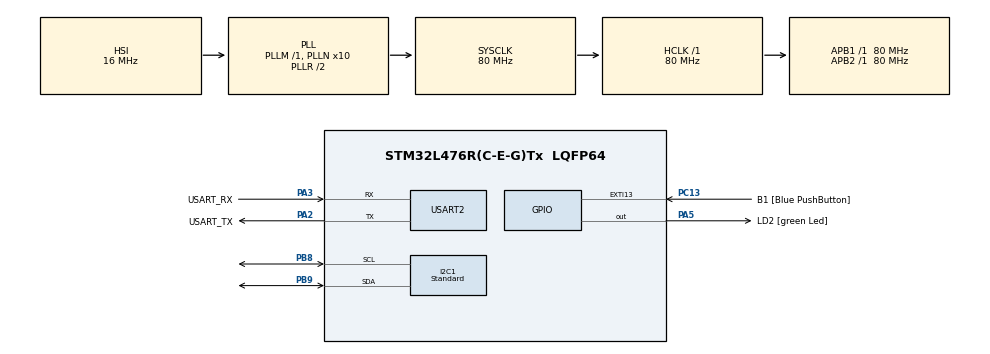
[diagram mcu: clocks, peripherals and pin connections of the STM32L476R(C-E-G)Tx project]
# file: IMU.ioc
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I2C1.I2C_Speed_Mode=I2C_Standard
I2C1.Timing=0x10D19CE4
Mcu.Family=STM32L4
Mcu.Name=STM32L476R(C-E-G)Tx
Mcu.Package=LQFP64
NVIC.PriorityGroup=NVIC_PRIORITYGROUP_4
NVIC.TIM6_DAC_IRQn=true\:0\:0\:false\:false\:true\:true\:true\:true
PA13\ (JTMS-SWDIO).GPIO_Label=TMS
PA13\ (JTMS-SWDIO).Mode=Serial_Wire
PA13\ (JTMS-SWDIO).Signal=SYS_JTMS-SWDIO
PA14\ (JTCK-SWCLK).GPIO_Label=TCK
PA14\ (JTCK-SWCLK).Mode=Serial_Wire
PA14\ (JTCK-SWCLK).Signal=SYS_JTCK-SWCLK
PA2.GPIO_Label=USART_TX
PA2.GPIO_Mode=GPIO_MODE_AF_PP
PA2.GPIO_PuPd=GPIO_NOPULL
PA2.GPIO_Speed=GPIO_SPEED_FREQ_VERY_HIGH
PA2.Mode=Asynchronous
PA2.Signal=USART2_TX
PA3.GPIO_Label=USART_RX
PA3.GPIO_Mode=GPIO_MODE_AF_PP
PA3.GPIO_PuPd=GPIO_NOPULL
PA3.GPIO_Speed=GPIO_SPEED_FREQ_VERY_HIGH
PA3.Mode=Asynchronous
PA3.Signal=USART2_RX
PA5.GPIO_Label=LD2 [green Led]
PA5.GPIO_ModeDefaultOutputPP=GPIO_MODE_OUTPUT_PP
PA5.GPIO_PuPd=GPIO_NOPULL
PA5.GPIO_Speed=GPIO_SPEED_FREQ_LOW
PA5.Signal=GPIO_Output
PB3\ (JTDO-TRACESWO).GPIO_Label=SWO
PB3\ (JTDO-TRACESWO).Signal=SYS_JTDO-SWO
PB8.Mode=I2C
PB8.Signal=I2C1_SCL
PB9.Mode=I2C
PB9.Signal=I2C1_SDA
PC13.GPIO_Label=B1 [Blue PushButton]
PC13.GPIO_ModeDefaultEXTI=GPIO_MODE_IT_FALLING
PC13.GPIO_PuPd=GPIO_NOPULL
PC13.Signal=GPXTI13
PC14-OSC32_IN\ (PC14).Mode=LSE-External-Oscillator
PC14-OSC32_IN\ (PC14).Signal=RCC_OSC32_IN
PC15-OSC32_OUT\ (PC15).Mode=LSE-External-Oscillator
PC15-OSC32_OUT\ (PC15).Signal=RCC_OSC32_OUT
PH0-OSC_IN\ (PH0).Signal=RCC_OSC_IN
PH1-OSC_OUT\ (PH1).Signal=RCC_OSC_OUT
ProjectManager.HeapSize=0x200
ProjectManager.StackSize=0x400
ProjectManager.TargetToolchain=STM32CubeIDE
RCC.ADCFreq_Value=64000000
RCC.AHBFreq_Value=80000000
RCC.APB1Freq_Value=80000000
RCC.APB1TimFreq_Value=80000000
RCC.APB2Freq_Value=80000000
RCC.APB2TimFreq_Value=80000000
RCC.CortexFreq_Value=80000000
RCC.HCLKFreq_Value=80000000
RCC.HSE_VALUE=8000000
RCC.HSI_VALUE=16000000
RCC.MSI_VALUE=4000000
RCC.PLLN=10
RCC.PLLSourceVirtual=RCC_PLLSOURCE_HSI
RCC.PREFETCH_ENABLE=1
RCC.SYSCLKFreq_VALUE=80000000
RCC.SYSCLKSource=RCC_SYSCLKSOURCE_PLLCLK
RCC.USBFreq_Value=64000000
RCC.VCOOutputFreq_Value=160000000
TIM6.Period=49999
TIM6.Prescaler=15
USART2.VirtualMode-Asynchronous=VM_ASYNC
VP_TIM6_VS_ClockSourceINT.Mode=Enable_Timer
board=NUCLEO-L476RG

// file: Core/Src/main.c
/* USER CODE BEGIN Header */
/**
  ******************************************************************************
  * @file           : main.c
  * @brief          : Main program body
  ******************************************************************************
  * @attention
  *
  * Copyright (c) 2024 STMicroelectronics.
  * All rights reserved.
  *
  * This software is licensed under terms that can be found in the LICENSE file
  * in the root directory of this software component.
  * If no LICENSE file comes with this software, it is provided AS-IS.
  *
  ******************************************************************************
  */
/* USER CODE END Header */
#include "main.h"
#include "i2c.h"
#include "tim.h"
#include "usart.h"
#include "gpio.h"

/* USER CODE BEGIN Includes */
#include "lsm9ds1_lib.h"
#include <stdio.h>
#include <string.h>
#include "accel.h"
#include "usart_utils.h"

/* USER CODE END Includes */

/* USER CODE BEGIN PV */
volatile uint8_t IMU_flag = 0;
uint8_t IMU_status;
uint8_t MAG_status;

IMU_t IMU;

char IMU_i2cBuffer[150];

/* USER CODE END PV */

void SystemClock_Config(void);

int main(void)
{

  /* MCU Configuration--------------------------------------------------------*/

  /* Reset of all peripherals, Initializes the Flash interface and the Systick. */
  HAL_Init();

  /* Configure the system clock */
  SystemClock_Config();

  /* Initialize all configured peripherals */
  MX_GPIO_Init();
  MX_USART2_UART_Init();
  MX_I2C1_Init();
  MX_TIM6_Init();
  /* USER CODE BEGIN 2 */
  HAL_TIM_Base_Start_IT(&htim6);

  /* USER CODE END 2 */

  /* Infinite loop */
  /* USER CODE BEGIN WHILE */
  HAL_Delay(500);

//  IMU_status = LSM9DS1_Init_AccelGyro(&hi2c1);

//  ScanI2CBus(&hi2c1, &i2c_buffer, &devices_count);

  IMU_status = LSM9DS1_Init_AccelGyro(&hi2c1);
  if(IMU_status == 0  ){
	  HAL_GPIO_TogglePin (GPIOA, GPIO_PIN_5);
  }

  HAL_Delay(2000);

  MAG_status = LSM9DS1_Init_Mag(&hi2c1);
  if(IMU_status == 0  ){
	  HAL_GPIO_TogglePin (GPIOA, GPIO_PIN_5);
  }

  while (1)
  {
    /* USER CODE END WHILE */

    /* USER CODE BEGIN 3 */
	  if(IMU_flag){
		  LSM9DS1_Read_Accel(&hi2c1, &IMU);
		  LSM9DS1_Read_Gyro(&hi2c1, &IMU);
		  LSM9DS1_Read_Mag(&hi2c1, &IMU);
		  Normalize_Accel_Values(&IMU);
		  Normalize_Gyro_Values(&IMU);
		  Normalize_Mag_Values(&IMU);
		  ftoaIMU(&IMU, IMU_i2cBuffer, sizeof(IMU_i2cBuffer), 4);
		  HAL_UART_Transmit(&huart2, (uint8_t*)IMU_i2cBuffer, strlen(IMU_i2cBuffer), HAL_MAX_DELAY);
		  IMU_flag = 0;
	  }

//	  SendI2CDevicesUART(&huart2, &i2c_buffer, devices_count);
  }
  /* USER CODE END 3 */
}

void SystemClock_Config(void)
{
  RCC_OscInitTypeDef RCC_OscInitStruct = {0};
  RCC_ClkInitTypeDef RCC_ClkInitStruct = {0};

  /** Configure the main internal regulator output voltage
  */
  if (HAL_PWREx_ControlVoltageScaling(PWR_REGULATOR_VOLTAGE_SCALE1) != HAL_OK)
  {
    Error_Handler();
  }

  /** Initializes the RCC Oscillators according to the specified parameters
  * in the RCC_OscInitTypeDef structure.
  */
  RCC_OscInitStruct.OscillatorType = RCC_OSCILLATORTYPE_HSI;
  RCC_OscInitStruct.HSIState = RCC_HSI_ON;
  RCC_OscInitStruct.HSICalibrationValue = RCC_HSICALIBRATION_DEFAULT;
  RCC_OscInitStruct.PLL.PLLState = RCC_PLL_ON;
  RCC_OscInitStruct.PLL.PLLSource = RCC_PLLSOURCE_HSI;
  RCC_OscInitStruct.PLL.PLLM = 1;
  RCC_OscInitStruct.PLL.PLLN = 10;
  RCC_OscInitStruct.PLL.PLLP = RCC_PLLP_DIV7;
  RCC_OscInitStruct.PLL.PLLQ = RCC_PLLQ_DIV2;
  RCC_OscInitStruct.PLL.PLLR = RCC_PLLR_DIV2;
  if (HAL_RCC_OscConfig(&RCC_OscInitStruct) != HAL_OK)
  {
    Error_Handler();
  }

  /** Initializes the CPU, AHB and APB buses clocks
  */
  RCC_ClkInitStruct.ClockType = RCC_CLOCKTYPE_HCLK|RCC_CLOCKTYPE_SYSCLK
                              |RCC_CLOCKTYPE_PCLK1|RCC_CLOCKTYPE_PCLK2;
  RCC_ClkInitStruct.SYSCLKSource = RCC_SYSCLKSOURCE_PLLCLK;
  RCC_ClkInitStruct.AHBCLKDivider = RCC_SYSCLK_DIV1;
  RCC_ClkInitStruct.APB1CLKDivider = RCC_HCLK_DIV1;
  RCC_ClkInitStruct.APB2CLKDivider = RCC_HCLK_DIV1;

  if (HAL_RCC_ClockConfig(&RCC_ClkInitStruct, FLASH_LATENCY_4) != HAL_OK)
  {
    Error_Handler();
  }
}

/* USER CODE BEGIN 4 */
void HAL_TIM_PeriodElapsedCallback(TIM_HandleTypeDef *htim)
{
    if(htim == &htim6)
    {
        IMU_flag=1;
    }
}
/* USER CODE END 4 */

void Error_Handler(void)
{
  __disable_irq();
  while (1)
  {
  }
}
